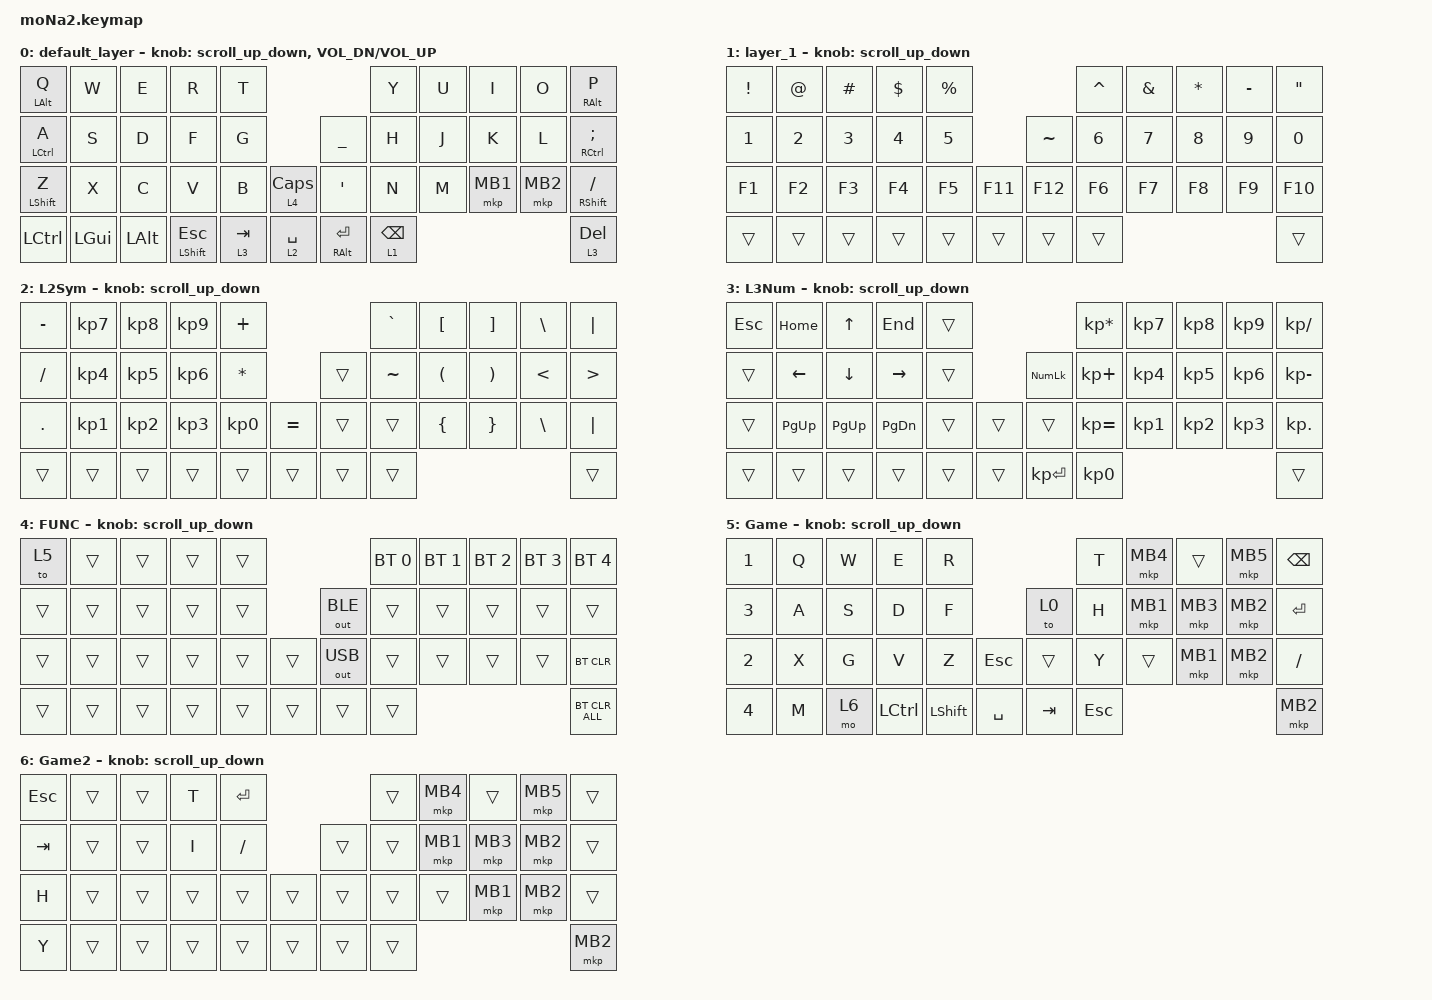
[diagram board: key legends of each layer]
#include <behaviors.dtsi>
#include <dt-bindings/zmk/bt.h>
#include <dt-bindings/zmk/keys.h>
#include <dt-bindings/zmk/outputs.h>
#include <dt-bindings/zmk/pointing.h>

#define ZMK_POINTING_DEFAULT_SCRL_VAL 100
#define MOUSE 6

&mt {
    flavor = "balanced";
    quick-tap-ms = <0>;
};

/ {
    combos {
        compatible = "zmk,combos";

        Copy {
            bindings = <&kp LC(C)>;
            key-positions = <12 11>;
        };

        SelectALL {
            bindings = <&kp LC(A)>;
            key-positions = <11 13>;
        };

        Paste {
            bindings = <&kp LC(V)>;
            key-positions = <13 12>;
        };

        Tab {
            bindings = <&kp TAB>;
            key-positions = <3 2>;
        };

        ShiftTab {
            bindings = <&kp LS(TAB)>;
            key-positions = <1 2>;
        };

        AltTab {
            bindings = <&kp LA(TAB)>;
            key-positions = <4 3>;
        };

        CtrlTab {
            bindings = <&kp LC(TAB)>;
            key-positions = <24 25>;
        };

        SftCtlTab {
            bindings = <&kp LS(LC(TAB))>;
            key-positions = <23 24>;
        };

        ScreenShot {
            bindings = <&kp LG(LS(S))>;
            key-positions = <10 11>;
        };

        changeLang {
            bindings = <&kp LC(SPACE)>;
            key-positions = <2 12>;
        };

        DblQuotation {
            bindings = <&kp DQT>;
            key-positions = <19 20>;
        };

        SglQuote {
            bindings = <&kp SQT>;
            key-positions = <18 19>;
        };

        Comma {
            bindings = <&kp COMMA>;
            key-positions = <29 30>;
        };

        Dot {
            bindings = <&kp DOT>;
            key-positions = <30 31>;
        };

        Lpar {
            bindings = <&kp LPAR>;
            key-positions = <14 13>;
        };

        Rpar {
            bindings = <&kp RPAR>;
            key-positions = <15 16>;
        };

        caps {
            bindings = <&kp CAPS>;
            key-positions = <23 24>;
        };
    };

    macros {
        to_layer_0: to_layer_0 {
            compatible = "zmk,behavior-macro-one-param";
            #binding-cells = <1>;
            bindings = <&to 0 &macro_param_1to1 &kp MACRO_PLACEHOLDER>;
            label = "TO_LAYER_0";
        };
    };

    behaviors {
        lt_to_layer_0: lt_to_layer_0 {
            compatible = "zmk,behavior-hold-tap";
            label = "LAYER_TAP_TO_0";
            bindings = <&mo>, <&to_layer_0>;

            #binding-cells = <2>;
            tapping-term-ms = <200>;
        };

        scroll_up_down: behavior_sensor_rotate_mouse_wheel_up_down {
            compatible = "zmk,behavior-sensor-rotate";
            #sensor-binding-cells = <0>;
            bindings = <&msc SCRL_UP>, <&msc SCRL_DOWN>;

            tap-ms = <20>;
        };
    };

    keymap {
        compatible = "zmk,keymap";

        default_layer {
            bindings = <
&mt LALT Q    &kp W     &kp E     &kp R               &kp T                                       &kp Y            &kp U  &kp I     &kp O     &mt RALT P
&mt LCTRL A   &kp S     &kp D     &kp F               &kp G                     &kp UNDERSCORE    &kp H            &kp J  &kp K     &kp L     &mt RCTRL SEMI
&mt LSHIFT Z  &kp X     &kp C     &kp V               &kp B      &lt 4 CAPS     &kp SINGLE_QUOTE  &kp N            &kp M  &mkp MB1  &mkp MB2  &mt RSHIFT SLASH
&kp LCTRL     &kp LGUI  &kp LALT  &mt LEFT_SHIFT ESC  &lt 3 TAB  &lt 2 SPACE    &mt RALT ENTER    &lt 1 BACKSPACE                             &lt 3 DEL
            >;

            sensor-bindings =
                <&scroll_up_down>,
                <&inc_dec_kp C_VOL_DN C_VOL_UP>;
        };

        layer_1 {
            bindings = <
&kp EXCL      &kp AT        &kp HASH      &kp DLLR      &kp PRCNT                           &kp CARET     &kp AMPS      &kp ASTRK     &kp MINUS     &kp DQT
&kp NUMBER_1  &kp NUMBER_2  &kp NUMBER_3  &kp NUMBER_4  &kp NUMBER_5             &kp TILDE  &kp NUMBER_6  &kp NUMBER_7  &kp NUMBER_8  &kp NUMBER_9  &kp NUMBER_0
&kp F1        &kp F2        &kp F3        &kp F4        &kp F5        &kp F11    &kp F12    &kp F6        &kp F7        &kp F8        &kp F9        &kp F10
&trans        &trans        &trans        &trans        &trans        &trans     &trans     &trans                                                  &trans
            >;

            sensor-bindings = <&scroll_up_down>;
        };

        L2Sym {
            bindings = <
&kp MINUS  &kp KP_NUMBER_7  &kp KP_NUMBER_8  &kp KP_NUMBER_9  &kp PLUS                           &kp GRAVE  &kp LBKT  &kp RBKT  &kp BSLH  &kp PIPE
&kp SLASH  &kp KP_NUMBER_4  &kp KP_NUMBER_5  &kp KP_NUMBER_6  &kp ASTERISK               &trans  &kp TILDE  &kp LPAR  &kp RPAR  &kp LT    &kp GT
&kp DOT    &kp KP_NUMBER_1  &kp KP_NUMBER_2  &kp KP_NUMBER_3  &kp KP_N0     &kp EQUAL    &trans  &trans     &kp LBRC  &kp RBRC  &kp BSLH  &kp PIPE
&trans     &trans           &trans           &trans           &trans        &trans       &trans  &trans                                   &trans
            >;

            sensor-bindings = <&scroll_up_down>;
        };

        L3Num {
            bindings = <
&kp ESCAPE  &kp HOME        &kp UP_ARROW    &kp END          &trans                          &kp KP_MULTIPLY  &kp KP_N7  &kp KP_N8  &kp KP_N9  &kp KP_DIVIDE
&trans      &kp LEFT_ARROW  &kp DOWN_ARROW  &kp RIGHT_ARROW  &trans            &kp KP_NUM    &kp KP_PLUS      &kp KP_N4  &kp KP_N5  &kp KP_N6  &kp KP_MINUS
&trans      &kp PG_UP       &kp PAGE_UP     &kp PG_DN        &trans  &trans    &trans        &kp KP_EQUAL     &kp KP_N1  &kp KP_N2  &kp KP_N3  &kp KP_DOT
&trans      &trans          &trans          &trans           &trans  &trans    &kp KP_ENTER  &kp KP_N0                                         &trans
            >;

            sensor-bindings = <&scroll_up_down>;
        };

        FUNC {
            bindings = <
&to 5   &trans  &trans  &trans  &trans                          &bt BT_SEL 0  &bt BT_SEL 1  &bt BT_SEL 2  &bt BT_SEL 3  &bt BT_SEL 4
&trans  &trans  &trans  &trans  &trans            &out OUT_BLE  &trans        &trans        &trans        &trans        &trans
&trans  &trans  &trans  &trans  &trans  &trans    &out OUT_USB  &trans        &trans        &trans        &trans        &bt BT_CLR
&trans  &trans  &trans  &trans  &trans  &trans    &trans        &trans                                                  &bt BT_CLR_ALL
            >;

            sensor-bindings = <&scroll_up_down>;
        };

        Game {
            bindings = <
&kp NUMBER_1  &kp Q  &kp W  &kp E      &kp R                            &kp T    &mkp MB4  &trans    &mkp MB5  &kp BACKSPACE
&kp NUMBER_3  &kp A  &kp S  &kp D      &kp F                   &to 0    &kp H    &mkp MB1  &mkp MB3  &mkp MB2  &kp ENTER
&kp NUMBER_2  &kp X  &kp G  &kp V      &kp Z      &kp ESC      &trans   &kp Y    &trans    &mkp MB1  &mkp MB2  &kp SLASH
&kp NUMBER_4  &kp M  &mo 6  &kp LCTRL  &kp LSHFT  &kp SPACE    &kp TAB  &kp ESC                                &mkp MB2
            >;

            sensor-bindings = <&scroll_up_down>;
        };

        Game2 {
            bindings = <
&kp ESC  &trans  &trans  &kp T   &kp ENTER                    &trans  &mkp MB4  &trans    &mkp MB5  &trans
&kp TAB  &trans  &trans  &kp I   &kp SLASH            &trans  &trans  &mkp MB1  &mkp MB3  &mkp MB2  &trans
&kp H    &trans  &trans  &trans  &trans     &trans    &trans  &trans  &trans    &mkp MB1  &mkp MB2  &trans
&kp Y    &trans  &trans  &trans  &trans     &trans    &trans  &trans                                &mkp MB2
            >;

            sensor-bindings = <&scroll_up_down>;
        };
    };
};
